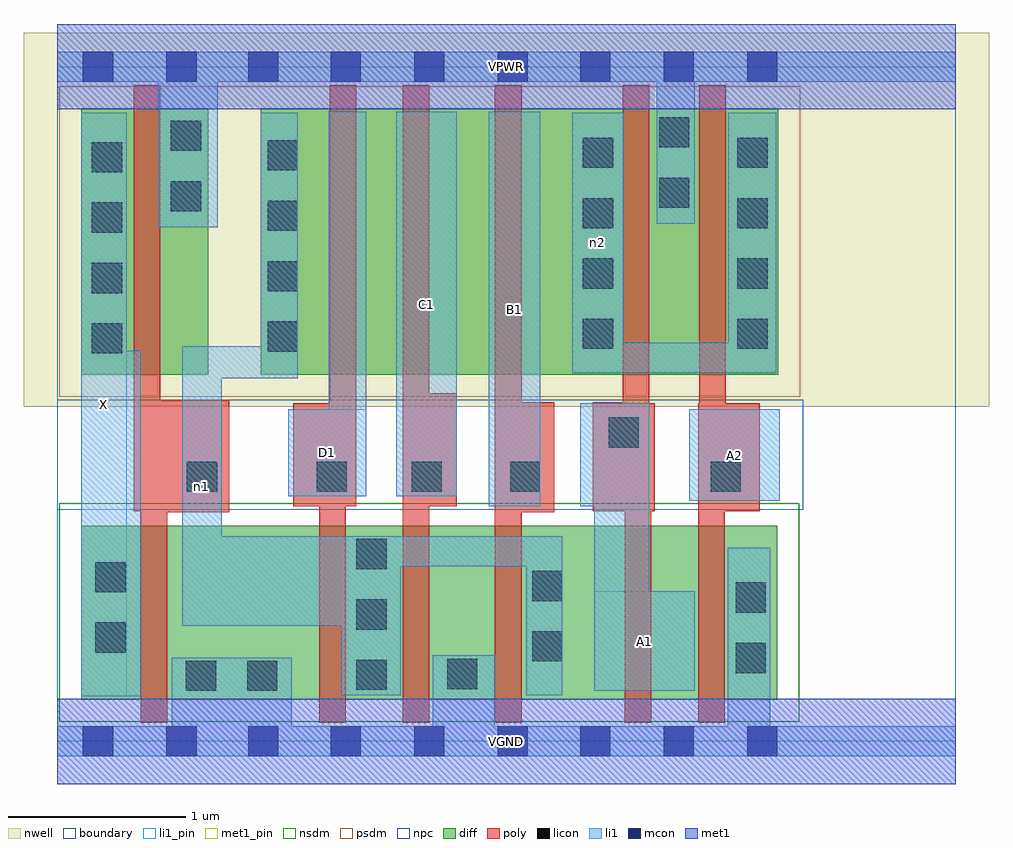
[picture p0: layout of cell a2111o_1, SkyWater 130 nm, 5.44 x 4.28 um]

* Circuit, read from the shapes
.subckt a2111o_1 A1 A2 B1 C1 D1 VGND VPWR X n1 n2
XM1 VGND n1 X VSUBS sky130_fd_pr__nfet_01v8 w=0.98 l=0.15
XM2 n1 D1 VGND VSUBS sky130_fd_pr__nfet_01v8 w=0.98 l=0.15
XM3 VGND C1 n1 VSUBS sky130_fd_pr__nfet_01v8 w=0.98 l=0.15
XM4 n1 B1 VGND VSUBS sky130_fd_pr__nfet_01v8 w=0.98 l=0.15
XM5 n3 A1 n1 VSUBS sky130_fd_pr__nfet_01v8 w=0.98 l=0.15
XM6 VGND A2 n3 VSUBS sky130_fd_pr__nfet_01v8 w=0.98 l=0.15
XM7 VPWR n1 X n4 sky130_fd_pr__pfet_01v8 w=1.5 l=0.15
XM8 n5 D1 n1 n4 sky130_fd_pr__pfet_01v8 w=1.5 l=0.15
XM9 n6 C1 n5 n4 sky130_fd_pr__pfet_01v8 w=1.5 l=0.15
XM10 n2 B1 n6 n4 sky130_fd_pr__pfet_01v8 w=1.5 l=0.15
XM11 VPWR A1 n2 n4 sky130_fd_pr__pfet_01v8 w=1.5 l=0.15
XM12 n2 A2 VPWR n4 sky130_fd_pr__pfet_01v8 w=1.5 l=0.15
.ends

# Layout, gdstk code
import gdstk
lib = gdstk.Library(unit=1e-6, precision=1e-09)
def R(c, l, rs):  # rectangles x0, y0, x1, y1
    for r in rs: c.add(gdstk.rectangle(r[:2], r[2:], *l))
def A(c, l, x, y, w, h, nx, ny, dx, dy):  # array of equal rectangles
    R(c, l, [(x+i*dx, y+j*dy, x+i*dx+w, y+j*dy+h) for i in range(nx) for j in range(ny)])
nwell = (64, 20)
diff = (65, 20)
poly = (66, 20)
licon = (66, 44)
li1_pin = (67, 16)
li1 = (67, 20)
mcon = (67, 44)
met1_pin = (68, 16)
met1 = (68, 20)
nsdm = (93, 44)
psdm = (94, 20)
npc = (95, 20)
boundary = (235, 4)

a2111o_1 = lib.new_cell('a2111o_1')
R(a2111o_1, nwell, [(-0.19,1.885,5.25,3.99), (0,1.885,5.06,3.99)])
R(a2111o_1, diff, [(0.135,0.235,4.055,1.215), (0.135,2.065,0.85,3.565), (1.145,2.065,4.06,3.565)])
R(a2111o_1, poly, [(0.47,0.105,0.62,1.92), (1.475,0.105,1.625,1.905), (1.945,0.105,2.095,3.695), (2.465,0.105,2.615,3.695), (3.195,0.105,3.345,1.905), (3.61,0.105,3.76,1.905), (0.47,1.29,0.97,1.92), (2.465,1.29,2.8,1.91), (0.43,1.295,0.58,3.695), (3.015,1.295,3.365,1.905), (3.015,1.295,3.335,1.91), (3.185,1.295,3.335,3.695), (3.61,1.295,3.955,1.905), (3.615,1.295,3.765,3.695), (1.33,1.325,1.685,1.905), (1.535,1.325,1.685,3.695), (1.945,1.325,2.25,1.96)])
A(a2111o_1, licon, 1.685, 0.29, 0.17, 0.17, 1, 3, 0, 0.34)
A(a2111o_1, licon, 0.195, 2.185, 0.17, 0.17, 1, 4, 0, 0.34)
A(a2111o_1, licon, 1.185, 2.195, 0.17, 0.17, 1, 4, 0, 0.34)
A(a2111o_1, licon, 2.96, 2.21, 0.17, 0.17, 1, 4, 0, 0.34)
A(a2111o_1, licon, 3.83, 2.21, 0.17, 0.17, 1, 4, 0, 0.34)
R(a2111o_1, licon, [(0.725,0.285,0.895,0.455), (1.07,0.285,1.24,0.455), (2.195,0.295,2.365,0.465), (3.82,0.385,3.99,0.555), (2.675,0.45,2.845,0.62), (0.215,0.5,0.385,0.67), (3.82,0.725,3.99,0.895), (2.675,0.79,2.845,0.96), (0.215,0.84,0.385,1.01), (0.73,1.405,0.9,1.575), (1.46,1.405,1.63,1.575), (1.995,1.405,2.165,1.575), (2.55,1.405,2.72,1.575), (3.68,1.405,3.85,1.575), (3.105,1.655,3.275,1.825), (0.64,2.985,0.81,3.155), (3.39,3.005,3.56,3.175), (0.64,3.325,0.81,3.495), (3.39,3.345,3.56,3.515)])
R(a2111o_1, li1_pin, [(0.135,0.255,0.39,3.54), (3.025,0.285,3.59,0.845), (2.43,1.325,2.72,3.545), (3.56,1.355,4.07,1.87), (1.3,1.38,1.74,1.87), (1.91,1.38,2.25,3.545)])
R(a2111o_1, li1, [(0,-0.085,5.06,0.085), (0.645,-0.085,1.32,0.47), (2.115,-0.085,2.465,0.485), (3.775,-0.085,4.015,1.09), (0.135,0.255,0.39,3.54), (0.135,0.255,0.47,2.2), (1.6,0.26,1.935,1.155), (2.64,0.26,2.845,1.155), (3.025,0.285,3.335,1.905), (3.025,0.285,3.59,0.845), (0.705,0.65,0.925,2.225), (0.705,0.65,1.935,1.155), (0.705,0.985,2.845,1.155), (2.43,1.325,2.72,3.545), (2.945,1.325,3.335,1.905), (3.56,1.355,4.07,1.87), (1.3,1.38,1.74,1.87), (1.53,1.38,1.74,3.545), (1.91,1.38,2.25,3.545), (0.705,2.045,1.355,2.225), (1.145,2.045,1.355,3.54), (2.9,2.075,3.19,3.54), (2.9,2.075,4.05,2.245), (3.78,2.075,4.05,3.54), (0.57,2.895,0.905,3.885), (3.375,2.915,3.59,3.885), (0,3.715,5.06,3.885)])
A(a2111o_1, mcon, 1.54, -0.085, 0.17, 0.17, 3, 2, 0.47, 3.8)
A(a2111o_1, mcon, 2.945, -0.085, 0.17, 0.17, 3, 2, 0.47, 3.8)
R(a2111o_1, mcon, [(0.145,-0.085,0.315,0.085), (0.615,-0.085,0.785,0.085), (1.075,-0.085,1.245,0.085), (0.145,3.715,0.315,3.885), (0.615,3.715,0.785,3.885), (1.075,3.715,1.245,3.885)])
R(a2111o_1, met1_pin, [(0,-0.24,5.06,0.24), (0,3.56,5.06,4.04)])
R(a2111o_1, met1, [(0,-0.24,5.06,0.24), (0,3.56,5.06,4.04)])
R(a2111o_1, nsdm, [(0.01,0.11,4.18,1.34)])
R(a2111o_1, psdm, [(0.01,1.94,4.185,3.69)])
R(a2111o_1, npc, [(0,1.305,4.2,1.925)])
R(a2111o_1, boundary, [(0,0,5.06,3.8)])
a2111o_1.add(gdstk.Label('A1', (3.307,0.565), layer=67, texttype=5))
a2111o_1.add(gdstk.Label('A2', (3.815,1.612), layer=67, texttype=5))
a2111o_1.add(gdstk.Label('B1', (2.575,2.435), layer=67, texttype=5))
a2111o_1.add(gdstk.Label('C1', (2.08,2.462), layer=67, texttype=5))
a2111o_1.add(gdstk.Label('D1', (1.52,1.625), layer=67, texttype=5))
a2111o_1.add(gdstk.Label('X', (0.262,1.897), layer=67, texttype=5))
a2111o_1.add(gdstk.Label('n1', (0.815,1.437), layer=67, texttype=5))
a2111o_1.add(gdstk.Label('n2', (3.045,2.807), layer=67, texttype=5))
a2111o_1.add(gdstk.Label('VPWR', (2.53,3.8), layer=68, texttype=5))
a2111o_1.add(gdstk.Label('VGND', (2.53,0), layer=68, texttype=5))
a2111o_1.add(gdstk.Label('A1', (3.307,0.565), layer=67, texttype=16))
a2111o_1.add(gdstk.Label('A2', (3.815,1.612), layer=67, texttype=16))
a2111o_1.add(gdstk.Label('B1', (2.575,2.435), layer=67, texttype=16))
a2111o_1.add(gdstk.Label('C1', (2.08,2.462), layer=67, texttype=16))
a2111o_1.add(gdstk.Label('D1', (1.52,1.625), layer=67, texttype=16))
a2111o_1.add(gdstk.Label('X', (0.262,1.897), layer=67, texttype=16))
a2111o_1.add(gdstk.Label('VPWR', (2.53,3.8), layer=68, texttype=16))
a2111o_1.add(gdstk.Label('VGND', (2.53,0), layer=68, texttype=16))

lib.write_gds('a2111o_1.gds')
